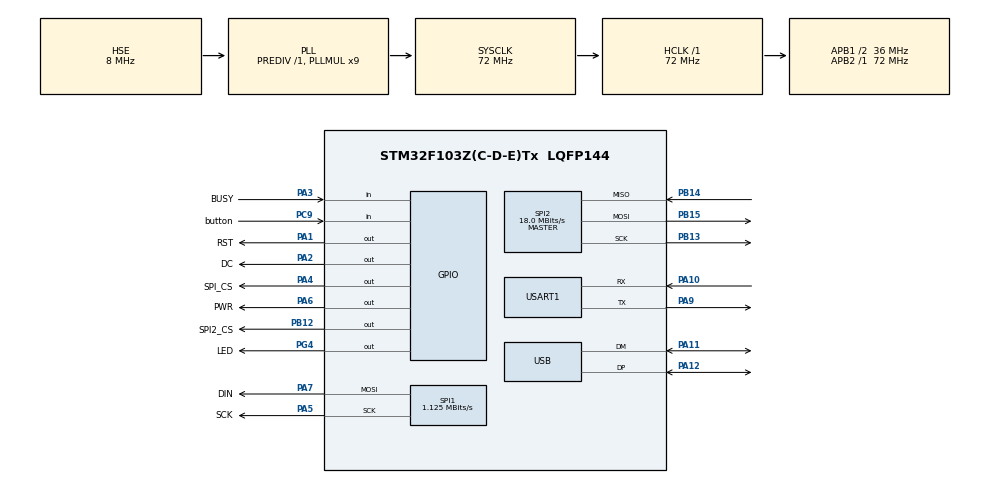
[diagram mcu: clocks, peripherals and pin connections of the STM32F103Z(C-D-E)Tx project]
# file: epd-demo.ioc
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FATFS._MAX_SS=512
Mcu.Family=STM32F1
Mcu.Name=STM32F103Z(C-D-E)Tx
Mcu.Package=LQFP144
NVIC.PriorityGroup=NVIC_PRIORITYGROUP_4
NVIC.USB_HP_CAN1_TX_IRQn=true\:0\:0\:false\:false\:true\:true\:true\:true
NVIC.USB_LP_CAN1_RX0_IRQn=true\:0\:0\:false\:false\:true\:false\:true\:true
OSC_IN.Mode=HSE-External-Oscillator
OSC_IN.Signal=RCC_OSC_IN
OSC_OUT.Mode=HSE-External-Oscillator
OSC_OUT.Signal=RCC_OSC_OUT
PA1.GPIO_Label=RST
PA1.Signal=GPIO_Output
PA10.Mode=Asynchronous
PA10.Signal=USART1_RX
PA11.Mode=Device
PA11.Signal=USB_DM
PA12.Mode=Device
PA12.Signal=USB_DP
PA13.Mode=Serial_Wire
PA13.Signal=SYS_JTMS-SWDIO
PA14.Mode=Serial_Wire
PA14.Signal=SYS_JTCK-SWCLK
PA2.GPIO_Label=DC
PA2.Signal=GPIO_Output
PA3.GPIO_Label=BUSY
PA3.Signal=GPIO_Input
PA4.GPIO_Label=SPI_CS
PA4.Signal=GPIO_Output
PA5.GPIO_Label=SCK
PA5.Mode=TX_Only_Simplex_Unidirect_Master
PA5.Signal=SPI1_SCK
PA6.GPIO_Label=PWR
PA6.Signal=GPIO_Output
PA7.GPIO_Label=DIN
PA7.Mode=TX_Only_Simplex_Unidirect_Master
PA7.Signal=SPI1_MOSI
PA9.Mode=Asynchronous
PA9.Signal=USART1_TX
PB12.GPIO_Label=SPI2_CS
PB12.Signal=GPIO_Output
PB13.Mode=Full_Duplex_Master
PB13.Signal=SPI2_SCK
PB14.Mode=Full_Duplex_Master
PB14.Signal=SPI2_MISO
PB15.Mode=Full_Duplex_Master
PB15.Signal=SPI2_MOSI
PC9.GPIO_Label=button
PC9.Signal=GPIO_Input
PG4.GPIO_Label=LED
PG4.GPIO_ModeDefaultOutputPP=GPIO_MODE_OUTPUT_OD
PG4.GPIO_PuPd=GPIO_NOPULL
PG4.Signal=GPIO_Output
ProjectManager.HeapSize=0x9000
ProjectManager.StackSize=0x1000
ProjectManager.TargetToolchain=MDK-ARM V5
RCC.AHBFreq_Value=72000000
RCC.APB1CLKDivider=RCC_HCLK_DIV2
RCC.APB1Freq_Value=36000000
RCC.APB1TimFreq_Value=72000000
RCC.APB2Freq_Value=72000000
RCC.APB2TimFreq_Value=72000000
RCC.HCLKFreq_Value=72000000
RCC.PLLMUL=RCC_PLL_MUL9
RCC.PLLSourceVirtual=RCC_PLLSOURCE_HSE
RCC.SYSCLKFreq_VALUE=72000000
RCC.SYSCLKSource=RCC_SYSCLKSOURCE_PLLCLK
RCC.USBFreq_Value=48000000
RCC.USBPrescaler=RCC_USBCLKSOURCE_PLL_DIV1_5
SPI1.BaudRatePrescaler=SPI_BAUDRATEPRESCALER_64
SPI1.CalculateBaudRate=1.125 MBits/s
SPI1.Direction=SPI_DIRECTION_2LINES
SPI1.Mode=SPI_MODE_MASTER
SPI1.VirtualType=VM_MASTER
SPI2.BaudRatePrescaler=SPI_BAUDRATEPRESCALER_2
SPI2.CalculateBaudRate=18.0 MBits/s
SPI2.Direction=SPI_DIRECTION_2LINES
SPI2.Mode=SPI_MODE_MASTER
SPI2.VirtualType=VM_MASTER
USART1.VirtualMode=VM_ASYNC
USB_DEVICE.CLASS_NAME_FS=MSC
USB_DEVICE.VirtualMode=Msc
USB_DEVICE.VirtualModeFS=Msc_FS
VP_FATFS_VS_Generic.Mode=User_defined
VP_USB_DEVICE_VS_USB_DEVICE_MSC_FS.Mode=MSC_FS
board=epd5in83-demo

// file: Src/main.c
/* USER CODE BEGIN Header */
/**
  ******************************************************************************
  * @file           : main.c
  * @brief          : Main program body
  ******************************************************************************
  * @attention
  *
  * <h2><center>&copy; Copyright (c) 2021 STMicroelectronics.
  * All rights reserved.</center></h2>
  *
  * This software component is licensed by ST under BSD 3-Clause license,
  * the "License"; You may not use this file except in compliance with the
  * License. You may obtain a copy of the License at:
  *                        opensource.org/licenses/BSD-3-Clause
  *
  ******************************************************************************
  */
/* USER CODE END Header */
#include "main.h"
#include "fatfs.h"
#include "spi.h"
#include "usart.h"
#include "usb_device.h"
#include "gpio.h"

/* USER CODE BEGIN Includes */
#include "EPD_Test.h"
#include "w25q64.h"
#include "EPD_3in6e.h"
#include "fatfs.h"
#include "DEV_Config.h"

/* USER CODE END Includes */

/* USER CODE BEGIN PV */
/* Private variables ---------------------------------------------------------*/

/* USER CODE END PV */

void SystemClock_Config(void);
/* USER CODE BEGIN PFP */
/* Private function prototypes -----------------------------------------------*/

/* USER CODE END PFP */

/* USER CODE BEGIN 0 */

#define READ_MODE 0
#define USB_MODE 1

int16_t mode=READ_MODE;

void EPD_Show_File(const char* filename);
void EPD_Test_Color(UBYTE color);

int current_photo_id = 1;
uint8_t Check_Double_Click(void);

/* USER CODE END 0 */

int main(void)
{

  /* MCU Configuration--------------------------------------------------------*/

  /* Reset of all peripherals, Initializes the Flash interface and the Systick. */
  HAL_Init();

  /* Configure the system clock */
  SystemClock_Config();

  /* Initialize all configured peripherals */
  MX_GPIO_Init();
  MX_USART1_UART_Init();
  MX_SPI1_Init();
  MX_SPI2_Init();
  // MX_USB_DEVICE_Init();
  MX_FATFS_Init();
  /* USER CODE BEGIN 2 */

  // EPD_Test();
  uint32_t flash_id = W25Q64_ReadID();
  printf("Flash ID: 0x%X\r\n", flash_id);
  if(flash_id != 0xEF4017) {
    // EPD_Test();
      printf("flash id error\r\n");
  }
  HAL_Delay(1000);

  if(HAL_GPIO_ReadPin(GPIOC, GPIO_PIN_9) == 1){
    mode = USB_MODE;
    printf("Mode: USB\r\n");
  } else {
    mode = READ_MODE;
    printf("Mode: READ\r\n");
  }

  if(mode == USB_MODE) {
    // GPIO_InitTypeDef GPIO_InitStruct = {0};

    // 1. 强行接管 PA12 (USB D+)，配置为推挽输出
    // __HAL_RCC_GPIOA_CLK_ENABLE();
    // GPIO_InitStruct.Pin = GPIO_PIN_12;
    // GPIO_InitStruct.Mode = GPIO_MODE_OUTPUT_PP;
    // GPIO_InitStruct.Pull = GPIO_NOPULL;
    // GPIO_InitStruct.Speed = GPIO_SPEED_FREQ_LOW;
    // HAL_GPIO_Init(GPIOA, &GPIO_InitStruct);

    // // 2. 拉低电平 (告诉电脑：我拔掉了)
    // HAL_GPIO_WritePin(GPIOA, GPIO_PIN_12, GPIO_PIN_RESET);

    // // 3. 延时 (给电脑一点反应时间，通常 500ms - 1000ms)
    // HAL_Delay(1000);

    MX_USB_DEVICE_Init();
    printf("USB Device Initialized\r\n");
  }else{
    // === 模式 B：FatFs 读取模式 (显示图片) ===
        printf("Mode: READ\r\n");

        // 1. 定义文件系统对象
        FATFS fs;
        FRESULT res;

        // 2. 挂载文件系统 (这一步是必须的！)
        // 参数说明: &fs是对象, "0:"是驱动号, 1表示立即挂载并检查
        printf("Mounting Filesystem...\r\n");
        res = f_mount(&fs, "0:", 1);

        if (res == FR_OK)
        {
            printf("Mount Success!\r\n");

            // 3. 只有挂载成功了，才能读取文件显示
            // 调用我们之前写好的流式显示函数
            // EPD_Show_File("out.bin");
            // EPD_Test_Color(0x03);

            // 4. 显示完成后卸载 (可选)
            // f_mount(NULL, "0:", 0);
            while(1){
              if(Check_Double_Click()){
                printf("Double Click Detected!\r\n");

                // 2. 尝试寻找下一张图
                // 逻辑：尝试打开 "当前ID + 1" 的文件
                // 如果存在 -> ID加1
                // 如果不存在 -> ID重置为1

                int next_id = current_photo_id + 1;
                char filename[20];
                sprintf(filename, "%d.bin", next_id); // 拼接文件名，例如 "2.out"

                FIL test_file;
                if(f_open(&test_file, filename, FA_READ) == FR_OK)
                {
                    // 下一张文件存在，使用它
                    f_close(&test_file);
                    current_photo_id = next_id;
                }
                else
                {
                    // 下一张文件不存在，回到第一张
                    printf("Next file %s not found. Loop back to 1.bin\r\n", filename);
                    current_photo_id = 1;
                    sprintf(filename, "1.bin");
                }

                // 3. 刷新屏幕
                // 注意：刷新过程需要几十秒，这期间按键是不起作用的（正好防抖）
                EPD_Show_File(filename);

                printf("Display Done. Waiting for next command...\r\n");
              }
              HAL_Delay(10);
            }
        }
        else
        {
            // 如果挂载失败 (例如错误 13 FR_NO_FILESYSTEM)，说明 U 盘没格式化
            printf("Mount Failed! Error: %d\r\n", res);
            printf("Please format disk to FAT/FAT32 via USB mode.\r\n");
        }

  }

  /* USER CODE END 2 */

  /* Infinite loop */
    while (1) {

    /* USER CODE BEGIN 3 */
			HAL_Delay(10000);

    }
  /* USER CODE END 3 */
}

void SystemClock_Config(void)
{
  RCC_OscInitTypeDef RCC_OscInitStruct = {0};
  RCC_ClkInitTypeDef RCC_ClkInitStruct = {0};
  RCC_PeriphCLKInitTypeDef PeriphClkInit = {0};

  /** Initializes the RCC Oscillators according to the specified parameters
  * in the RCC_OscInitTypeDef structure.
  */
  RCC_OscInitStruct.OscillatorType = RCC_OSCILLATORTYPE_HSE;
  RCC_OscInitStruct.HSEState = RCC_HSE_ON;
  RCC_OscInitStruct.HSEPredivValue = RCC_HSE_PREDIV_DIV1;
  RCC_OscInitStruct.HSIState = RCC_HSI_ON;
  RCC_OscInitStruct.PLL.PLLState = RCC_PLL_ON;
  RCC_OscInitStruct.PLL.PLLSource = RCC_PLLSOURCE_HSE;
  RCC_OscInitStruct.PLL.PLLMUL = RCC_PLL_MUL9;
  if (HAL_RCC_OscConfig(&RCC_OscInitStruct) != HAL_OK)
  {
    Error_Handler();
  }

  /** Initializes the CPU, AHB and APB buses clocks
  */
  RCC_ClkInitStruct.ClockType = RCC_CLOCKTYPE_HCLK|RCC_CLOCKTYPE_SYSCLK
                              |RCC_CLOCKTYPE_PCLK1|RCC_CLOCKTYPE_PCLK2;
  RCC_ClkInitStruct.SYSCLKSource = RCC_SYSCLKSOURCE_PLLCLK;
  RCC_ClkInitStruct.AHBCLKDivider = RCC_SYSCLK_DIV1;
  RCC_ClkInitStruct.APB1CLKDivider = RCC_HCLK_DIV2;
  RCC_ClkInitStruct.APB2CLKDivider = RCC_HCLK_DIV1;

  if (HAL_RCC_ClockConfig(&RCC_ClkInitStruct, FLASH_LATENCY_2) != HAL_OK)
  {
    Error_Handler();
  }
  PeriphClkInit.PeriphClockSelection = RCC_PERIPHCLK_USB;
  PeriphClkInit.UsbClockSelection = RCC_USBCLKSOURCE_PLL_DIV1_5;
  if (HAL_RCCEx_PeriphCLKConfig(&PeriphClkInit) != HAL_OK)
  {
    Error_Handler();
  }
}

/* USER CODE BEGIN 4 */

// 缓冲区：4KB (太小会慢，太大会爆栈)
#define BUFFER_SIZE 4096
uint8_t img_buffer[BUFFER_SIZE];

/* * 核心功能：分块读取 FatFs 文件并直接刷入墨水屏
 */
void EPD_Show_File(const char* filename)
{
    FIL file;
    FRESULT res;
    UINT br;
    uint32_t total_sent = 0;
    // 3.6寸屏显存: 400x600像素 / 2 = 120,000 字节
    const uint32_t TOTAL_SIZE = 120000;

    printf("\r\n=== Start Showing: %s ===\r\n", filename);

    // 1. 【关键】模块级初始化 (开启电源 PWR 引脚)
    // 参考 EPD_Test: 第一步必须是这个
    if(DEV_Module_Init() != 0) {
        printf("DEV_Module_Init Failed!\r\n");
        return;
    }

    // 2. 墨水屏硬件复位与初始化
    printf("EPD Init...\r\n");
    EPD_3IN6E_Init();

    // (可选) 如果想先清屏，可以解开下面这行，但会增加一次闪烁
    // EPD_3IN6E_Clear(EPD_3IN6E_WHITE);

    // 3. 打开文件
    res = f_open(&file, filename, FA_READ);
    if(res != FR_OK) {
        printf("Open File Failed! Res=%d\r\n", res);
        DEV_Module_Exit(); // 失败也要记得关电源
        return;
    }

    // 4. 发送“写显存”命令
    // EPD_3IN6E 使用 0x10 命令开始传输图像数据
    // 注意：需要使用我们之前暴露出来的公开接口，或者修改 static
    // 如果还没修改驱动，请参照上文修改 EPD_3in6e.c 去掉 static
    EPD_3IN6E_Write_Command(0x10);

    printf("Streaming Data...\r\n");

    // 5. 流式传输 (Chunked Transfer)
    while(total_sent < TOTAL_SIZE)
    {
        // 计算本次读取大小
        UINT to_read = sizeof(img_buffer);
        if(TOTAL_SIZE - total_sent < to_read) {
            to_read = TOTAL_SIZE - total_sent;
        }

        // 读文件
        res = f_read(&file, img_buffer, to_read, &br);

        // 校验
        if(res != FR_OK || br == 0) {
            printf("Read Error or EOF! Sent: %d\r\n", total_sent);
            break;
        }

        // 【核心发送逻辑】
        // 模拟 EPD_3IN6E_Display 内部的发送行为
        DEV_Digital_Write(EPD_DC_PIN, 1); // DC=1 (数据)
        DEV_Digital_Write(EPD_CS_PIN, 0); // CS=0 (选中)

        // 使用 HAL 库批量发送，速度快且稳定
        DEV_SPI_Write_nByte(img_buffer, br);

        DEV_Digital_Write(EPD_CS_PIN, 1); // CS=1 (结束本次)

        total_sent += br;
    }

    printf("Transmission Done. Total: %d bytes\r\n", total_sent);
    f_close(&file);

    // 6. 刷新屏幕
    // EPD_3IN6E_Display() 内部调用的是 TurnOnDisplay
    // 我们手动调用它来触发刷新
    printf("Refreshing...\r\n");

    // 如果 EPD_3IN6E_TurnOnDisplay 还是 static，请去 .c 文件删掉 static
    EPD_3IN6E_Refresh();

    // 7. 休眠与断电 (参考 EPD_Test 结尾)
    printf("Sleep & Power Off...\r\n");
    EPD_3IN6E_Sleep();
    DEV_Delay_ms(2000); // 等待刷新完成再断电
    DEV_Module_Exit();  // 关闭 PWR 引脚，省电
}

// 记录当前显示的是第几张图
// int current_photo_id = 1;

// 按键引脚定义 (请根据你的实际引脚修改，假设是 PA0)
#define KEY_GPIO_PORT button_GPIO_Port
#define KEY_PIN       button_Pin

/**
 * @brief 检测按键是否被双击
 * @return 1: 双击事件发生, 0: 无事发生
 */
uint8_t Check_Double_Click(void)
{
    static uint32_t last_click_time = 0;
    static uint8_t key_released = 1; // 记录按键是否松开过

    // 1. 读取按键状态 (假设按下是高电平 1，如果是低电平请改为 == 0)
    if(HAL_GPIO_ReadPin(KEY_GPIO_PORT, KEY_PIN) == GPIO_PIN_SET)
    {
        // 只有当按键之前是松开状态，现在被按下，才算一次“点击”
        if(key_released == 1)
        {
            key_released = 0; // 标记为已按下
            uint32_t now = HAL_GetTick();

            // 计算距离上次点击的时间差
            if(now - last_click_time < 500) // 500ms 内连按两次
            {
                last_click_time = 0; // 重置时间，防止三连击触发两次
                return 1; // 触发双击！
            }
            else
            {
                last_click_time = now; // 更新本次点击时间
            }
        }
    }
    else
    {
        key_released = 1; // 按键松开了
    }

    return 0;
}
/* USER CODE END 0 */

/* USER CODE END 4 */

void Error_Handler(void)
{
  /* USER CODE BEGIN Error_Handler_Debug */
    /* User can add his own implementation to report the HAL error return state */
    while(1) {
			printf("_Error_Handler\r\n");
    }
  /* USER CODE END Error_Handler_Debug */
}
